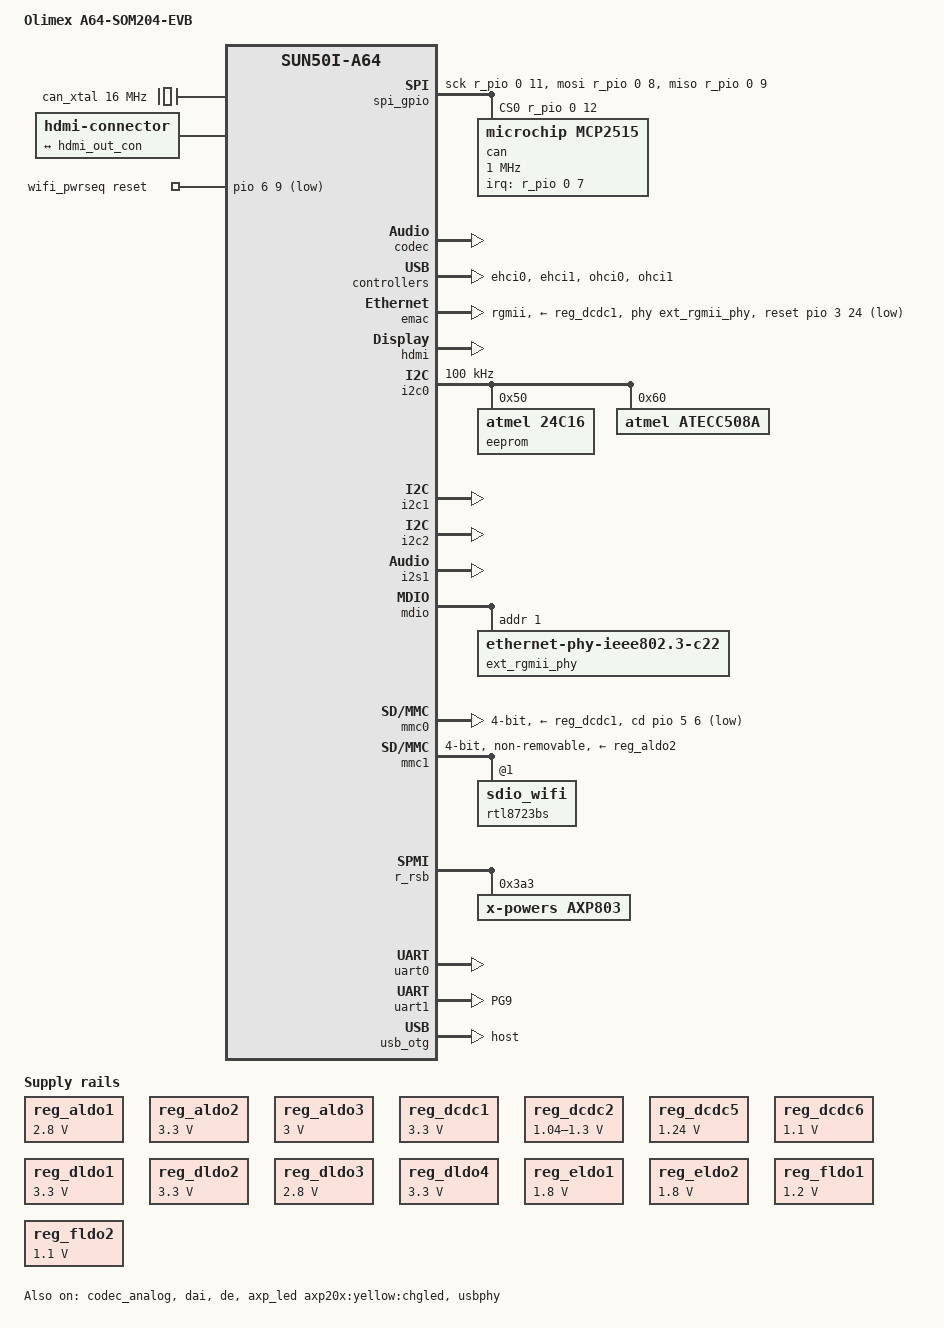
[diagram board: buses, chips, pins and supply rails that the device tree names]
/*
 * Copyright (C) 2017 Jagan Teki <jteki@openedev.com>
 *
 * This file is dual-licensed: you can use it either under the terms
 * of the GPL or the X11 license, at your option. Note that this dual
 * licensing only applies to this file, and not this project as a
 * whole.
 *
 *  a) This library is free software; you can redistribute it and/or
 *     modify it under the terms of the GNU General Public License as
 *     published by the Free Software Foundation; either version 2 of the
 *     License, or (at your option) any later version.
 *
 *     This library is distributed in the hope that it will be useful,
 *     but WITHOUT ANY WARRANTY; without even the implied warranty of
 *     MERCHANTABILITY or FITNESS FOR A PARTICULAR PURPOSE.  See the
 *     GNU General Public License for more details.
 *
 * Or, alternatively,
 *
 *  b) Permission is hereby granted, free of charge, to any person
 *     obtaining a copy of this software and associated documentation
 *     files (the "Software"), to deal in the Software without
 *     restriction, including without limitation the rights to use,
 *     copy, modify, merge, publish, distribute, sublicense, and/or
 *     sell copies of the Software, and to permit persons to whom the
 *     Software is furnished to do so, subject to the following
 *     conditions:
 *
 *     The above copyright notice and this permission notice shall be
 *     included in all copies or substantial portions of the Software.
 *
 *     THE SOFTWARE IS PROVIDED "AS IS", WITHOUT WARRANTY OF ANY KIND,
 *     EXPRESS OR IMPLIED, INCLUDING BUT NOT LIMITED TO THE WARRANTIES
 *     OF MERCHANTABILITY, FITNESS FOR A PARTICULAR PURPOSE AND
 *     NONINFRINGEMENT. IN NO EVENT SHALL THE AUTHORS OR COPYRIGHT
 *     HOLDERS BE LIABLE FOR ANY CLAIM, DAMAGES OR OTHER LIABILITY,
 *     WHETHER IN AN ACTION OF CONTRACT, TORT OR OTHERWISE, ARISING
 *     FROM, OUT OF OR IN CONNECTION WITH THE SOFTWARE OR THE USE OR
 *     OTHER DEALINGS IN THE SOFTWARE.
 */

/dts-v1/;

#include "sun50i-a64.dtsi"

#include <dt-bindings/gpio/gpio.h>

/ {
	model = "Olimex A64-SOM204-EVB";
	compatible = "olimex,a64-olimex-som204-evb", "allwinner,sun50i-a64";

	aliases {
		ethernet0 = &emac;
		ethernet1 = &wifi_pwrseq;
		i2c0 = &i2c0;
		i2c1 = &i2c1;
		i2c2 = &i2c2;
		mmc0 = &mmc0;
		mmc1 = &mmc2;
		serial0 = &uart0;
		spi0 = &spi0;
		spi1 = &spi_gpio;
	};

	bt-sound {
		compatible = "simple-audio-card";
		simple-audio-card,format = "i2s";
		simple-audio-card,bitclock-inversion = <1>;
		simple-audio-card,mclk-fs = <256>;
		simple-audio-card,name = "RTL8723BS";
		simple-audio-card,cpu {
			sound-dai = <&i2s1>;
		};
		simple-audio-card,codec {
			sound-dai = <&bt_sco>;
		};
	};

	bt_sco: bt-sco {
		compatible = "linux,bt-sco";
		#sound-dai-cells = <0>;
		status = "okay";
	};

	chosen {
		stdout-path = "serial0:115200n8";
	};

	can_xtal: can-xtal {
		compatible = "fixed-clock";
		#clock-cells = <0>;
		clock-frequency = <16000000>;
	};

	hdmi-connector {
		compatible = "hdmi-connector";
		type = "a";

		port {
			hdmi_con_in: endpoint {
				remote-endpoint = <&hdmi_out_con>;
			};
		};
	};

	wifi_pwrseq: wifi-pwrseq {
		compatible = "mmc-pwrseq-simple";
		reset-gpios = <&pio 6 9 GPIO_ACTIVE_LOW>;	/* PG9 */
	};

	spi_gpio: spi-gpio {
		compatible = "spi-gpio";
		#address-cells = <1>;
		#size-cells = <0>;
		ranges;

		miso-gpios = <&r_pio 0 9 GPIO_ACTIVE_HIGH>; /* PL9 */
		mosi-gpios = <&r_pio 0 8 GPIO_ACTIVE_HIGH>; /* PL8 */
		sck-gpios = <&r_pio 0 11 GPIO_ACTIVE_HIGH>; /* PL11 */
		cs-gpios = <&r_pio 0 12 GPIO_ACTIVE_HIGH>, /* PL12 */
			   <&pio 2 4 GPIO_ACTIVE_HIGH>; /* PC4 */
		num-chipselects = <2>;

		can@0 {
			compatible = "microchip,mcp2515";
			reg = <0>;
			clocks = <&can_xtal>;
			interrupt-parent = <&r_pio>;
			interrupts = <0 7 IRQ_TYPE_LEVEL_LOW>; /* PL7 */
			spi-max-frequency = <1000000>;
		};
	};
};

&codec {
	status = "okay";
};

&codec_analog {
	hpvcc-supply = <&reg_eldo1>;
	status = "okay";
};

&dai {
	status = "okay";
};

&de {
	status = "okay";
};

&ehci0 {
	status = "okay";
};

&ehci1 {
	status = "okay";
};

&emac {
	pinctrl-names = "default";
	pinctrl-0 = <&rgmii_pins>;
	phy-mode = "rgmii";
	phy-handle = <&ext_rgmii_phy>;
	phy-supply = <&reg_dcdc1>;
	allwinner,tx-delay-ps = <400>;
	snps,reset-gpio = <&pio 3 24 GPIO_ACTIVE_HIGH>; /* PD24 */
	snps,reset-active-low;
	snps,reset-delays-us = <0 10000 1000000>;

	status = "okay";
};

&hdmi {
	hvcc-supply = <&reg_dldo1>;
	status = "okay";
};

&hdmi_out {
	hdmi_out_con: endpoint {
		remote-endpoint = <&hdmi_con_in>;
	};
};

&i2c0 {
	status = "okay";
	clock-frequency = <100000>;

	eeprom@50 {
		compatible = "atmel,24c16";
		reg = <0x50>;
	};

	atecc508a@60 {
		compatible = "atmel,atecc508a";
		reg = <0x60>;
	};
};

&i2c1 {
	status = "okay";
};

&i2c2 {
	status = "okay";
};

&i2s1 {
	status = "okay";
};

&mdio {
	ext_rgmii_phy: ethernet-phy@1 {
		compatible = "ethernet-phy-ieee802.3-c22";
		reg = <1>;
	};
};


&mmc0 {
	pinctrl-names = "default";
	pinctrl-0 = <&mmc0_pins>;
	vmmc-supply = <&reg_dcdc1>;
	cd-gpios = <&pio 5 6 GPIO_ACTIVE_LOW>; /* PF6 */
	disable-wp;
	bus-width = <4>;
	status = "okay";
};

&mmc1 {
	pinctrl-names = "default";
	pinctrl-0 = <&mmc1_pins>;
	vmmc-supply = <&reg_aldo2>;
	vqmmc-supply = <&reg_dldo4>;
	mmc-pwrseq = <&wifi_pwrseq>;
	bus-width = <4>;
	non-removable;
	status = "okay";
	keep-power-in-suspend;

	rtl8723bs: sdio_wifi@1 {
		reg = <1>;
	};
};

&mmc2 {
	pinctrl-names = "default";
	pinctrl-0 = <&mmc2_pins>;
	vmmc-supply = <&reg_dcdc1>;
	vqmmc-supply = <&reg_dcdc1>;
	bus-width = <8>;
	non-removable;
	cap-mmc-hw-reset;
	status = "disabled";
};

&ohci0 {
	status = "okay";
};

&ohci1 {
	status = "okay";
};

&pio {
	uart1_rts_pins: uart1_rts_pins {
		pins = "PG9";
		function = "uart1";
	};

};

&r_rsb {
	status = "okay";

	axp803: pmic@3a3 {
		compatible = "x-powers,axp803";
		reg = <0x3a3>;
		interrupt-parent = <&r_intc>;
		interrupts = <0 IRQ_TYPE_LEVEL_LOW>;
		x-powers,drive-vbus-en;
	};
};

#include "axp803.dtsi"

&ac_power_supply {
	status = "okay";
};

&axp_led {
	label = "axp20x:yellow:chgled";
	linux,default-trigger = "heartbeat";
	default-state = "on";
	status = "okay";
};

&battery_power_supply {
	status = "okay";
};

&reg_aldo1 {
	regulator-always-on;
	regulator-min-microvolt = <2800000>;
	regulator-max-microvolt = <2800000>;
	regulator-name = "vcc-pe";
};

&reg_aldo2 {
	regulator-always-on;
	regulator-min-microvolt = <3300000>;
	regulator-max-microvolt = <3300000>;
	regulator-name = "vcc-pl";
};

&reg_aldo3 {
	regulator-always-on;
	regulator-min-microvolt = <3000000>;
	regulator-max-microvolt = <3000000>;
	regulator-name = "vcc-pll-avcc";
};

&reg_dcdc1 {
	regulator-always-on;
	regulator-min-microvolt = <3300000>;
	regulator-max-microvolt = <3300000>;
	regulator-name = "vcc-3v3";
};

&reg_dcdc2 {
	regulator-always-on;
	regulator-min-microvolt = <1040000>;
	regulator-max-microvolt = <1300000>;
	regulator-name = "vdd-cpux";
};

&reg_dcdc5 {
	regulator-always-on;
	regulator-min-microvolt = <1240000>;
	regulator-max-microvolt = <1240000>;
	regulator-name = "vcc-ddr3";
};

&reg_dcdc6 {
	regulator-always-on;
	regulator-min-microvolt = <1100000>;
	regulator-max-microvolt = <1100000>;
	regulator-name = "vdd-sys";
};

&reg_dldo1 {
	regulator-min-microvolt = <3300000>;
	regulator-max-microvolt = <3300000>;
	regulator-name = "vcc-hdmi";
};

&reg_dldo2 {
	regulator-min-microvolt = <3300000>;
	regulator-max-microvolt = <3300000>;
	regulator-name = "vcc-mipi";
};

&reg_dldo3 {
	regulator-min-microvolt = <2800000>;
	regulator-max-microvolt = <2800000>;
	regulator-name = "vcc-avdd-csi";
};

&reg_dldo4 {
	regulator-min-microvolt = <3300000>;
	regulator-max-microvolt = <3300000>;
	regulator-name = "vcc-wifi-io";
};

&reg_drivevbus {
	regulator-name = "usb0-vbus";
	status = "okay";
};

&reg_eldo1 {
	regulator-always-on;
	regulator-min-microvolt = <1800000>;
	regulator-max-microvolt = <1800000>;
	regulator-name = "cpvdd";
};

&reg_eldo2 {
	regulator-min-microvolt = <1800000>;
	regulator-max-microvolt = <1800000>;
	regulator-name = "vcc-dvdd-csi";
};

&reg_fldo1 {
	regulator-min-microvolt = <1200000>;
	regulator-max-microvolt = <1200000>;
	regulator-name = "vcc-1v2-hsic";
};

/*
 * The A64 chip cannot work without this regulator off, although
 * it seems to be only driving the AR100 core.
 * Maybe we don't still know well about CPUs domain.
 */
&reg_fldo2 {
	regulator-always-on;
	regulator-min-microvolt = <1100000>;
	regulator-max-microvolt = <1100000>;
	regulator-name = "vdd-cpus";
};

&reg_rtc_ldo {
	regulator-name = "vcc-rtc";
};

&simplefb_hdmi {
	vcc-hdmi-supply = <&reg_dldo1>;
};

&sound {
	simple-audio-card,aux-devs = <&codec_analog>;
	simple-audio-card,widgets = "Microphone", "Microphone Jack Left",
				    "Microphone", "Microphone Jack Right",
				    "Headphone", "Headphone Jack";
	simple-audio-card,routing =
			"Left DAC", "AIF1 Slot 0 Left",
			"Right DAC", "AIF1 Slot 0 Right",
			"Headphone Jack", "HP",
			"AIF1 Slot 0 Left ADC", "Left ADC",
			"AIF1 Slot 0 Right ADC", "Right ADC",
			"Microphone Jack Left", "MBIAS",
			"MIC1", "Microphone Jack Left",
			"Microphone Jack Left", "HBIAS",
			"MIC2", "Microphone Jack Right";
	status = "okay";
};

&spdif {
	status = "disabled";
};

&spi0 {
	status = "okat";

	w25q128@0 {
		#address-cells = <1>;
		#size-cells = <1>;
		compatible = "winbond,w25q128", "jedec,spi-nor";
		reg = <0>;
		spi-max-frequency = <10000000>;
	};
};

&uart0 {
	pinctrl-names = "default";
	pinctrl-0 = <&uart0_pb_pins>;
	status = "okay";
};

&uart1 {
	pinctrl-names = "default";
	pinctrl-0 = <&uart1_pins>, <&uart1_rts_pins>;
	status = "okay";
};

&usb_otg {
	dr_mode = "host";
	status = "okay";
};

&usbphy {
	status = "okay";
	usb0_id_det-gpios = <&pio 7 9 GPIO_ACTIVE_HIGH>; /* PH9 */
	usb0_vbus_det-gpios = <&pio 7 6 GPIO_ACTIVE_HIGH>; /* PH6 */
	usb0_vbus-supply = <&reg_drivevbus>;
};
